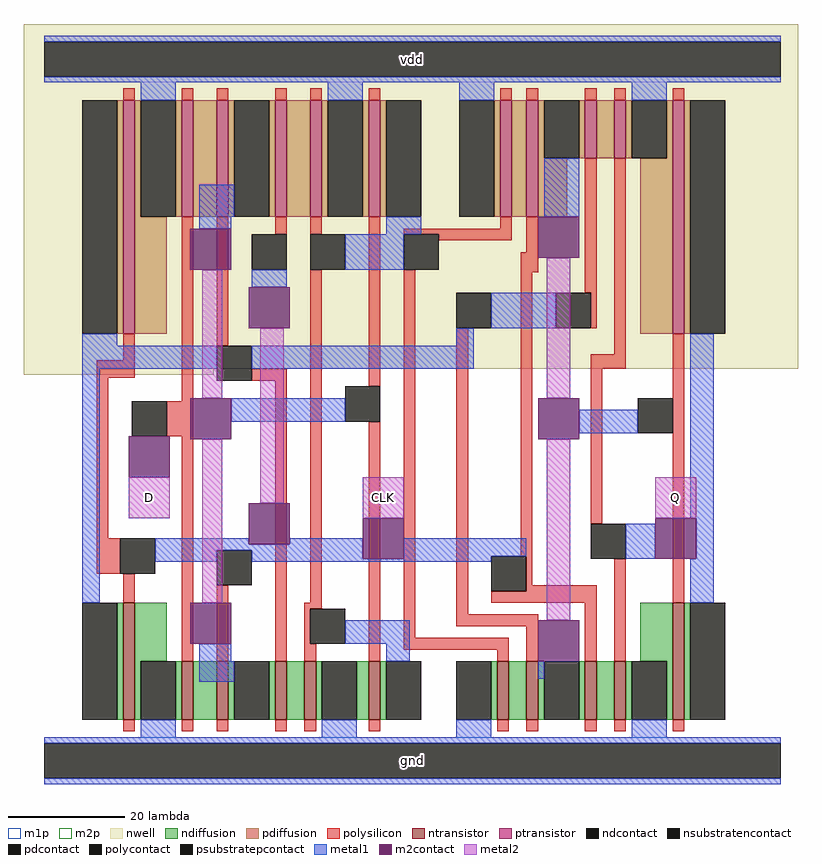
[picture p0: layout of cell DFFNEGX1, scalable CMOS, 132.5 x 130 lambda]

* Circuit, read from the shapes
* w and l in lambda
.subckt DFFNEGX1 D CLK Q vdd gnd
M1 gnd CLK n1 gnd nfet w=20 l=2
M2 n2 D gnd gnd nfet w=10 l=2
M3 n3 CLK n2 gnd nfet w=10 l=2
M4 n4 n1 n3 gnd nfet w=10 l=2
M5 gnd n5 n4 gnd nfet w=10 l=2
M6 n5 n3 gnd gnd nfet w=10 l=2
M7 n6 n5 gnd gnd nfet w=10 l=2
M8 n7 n1 n6 gnd nfet w=10 l=2
M9 n8 CLK n7 gnd nfet w=10 l=2
M10 gnd Q n8 gnd nfet w=10 l=2
M11 Q n7 gnd gnd nfet w=20 l=2
M12 vdd CLK n1 vdd pfet w=40 l=2
M13 n9 D vdd vdd pfet w=20 l=2
M14 n3 n1 n9 vdd pfet w=20 l=2
M15 n10 CLK n3 vdd pfet w=20 l=2
M16 vdd n5 n10 vdd pfet w=20 l=2
M17 n5 n3 vdd vdd pfet w=20 l=2
M18 n11 n5 vdd vdd pfet w=20 l=2
M19 n7 CLK n11 vdd pfet w=20 l=2
M20 n12 n1 n7 vdd pfet w=10 l=2
M21 vdd Q n12 vdd pfet w=10 l=2
M22 Q n7 vdd vdd pfet w=40 l=2
.ends

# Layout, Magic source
magic
tech scmos
magscale 1 2
<< nwell >>
rect -13 134 252 252
rect -13 132 52 134
<< ntransistor >>
rect 21 14 25 54
rect 41 14 45 34
rect 53 14 57 34
rect 73 14 77 34
rect 83 14 87 34
rect 105 14 109 34
rect 149 14 153 34
rect 159 14 163 34
rect 179 14 183 34
rect 189 14 193 34
rect 209 14 213 54
<< ptransistor >>
rect 21 146 25 226
rect 41 186 45 226
rect 53 186 57 226
rect 73 186 77 226
rect 85 186 89 226
rect 105 186 109 226
rect 150 186 154 226
rect 159 186 163 226
rect 179 206 183 226
rect 189 206 193 226
rect 209 146 213 226
<< ndiffusion >>
rect 19 14 21 54
rect 25 34 36 54
rect 198 34 209 54
rect 25 14 27 34
rect 39 14 41 34
rect 45 14 53 34
rect 57 14 59 34
rect 71 14 73 34
rect 77 14 83 34
rect 87 14 89 34
rect 101 14 105 34
rect 109 14 111 34
rect 147 14 149 34
rect 153 14 159 34
rect 163 14 165 34
rect 177 14 179 34
rect 183 14 189 34
rect 193 14 195 34
rect 207 14 209 34
rect 213 14 215 54
<< pdiffusion >>
rect 19 146 21 226
rect 25 186 27 226
rect 39 186 41 226
rect 45 186 53 226
rect 57 186 59 226
rect 71 186 73 226
rect 77 186 85 226
rect 89 186 91 226
rect 103 186 105 226
rect 109 186 111 226
rect 148 186 150 226
rect 154 186 159 226
rect 163 206 165 226
rect 177 206 179 226
rect 183 206 189 226
rect 193 206 195 226
rect 207 206 209 226
rect 163 186 173 206
rect 25 146 36 186
rect 198 146 209 206
rect 213 146 215 226
<< ndcontact >>
rect 7 14 19 54
rect 27 14 39 34
rect 59 14 71 34
rect 89 14 101 34
rect 111 14 123 34
rect 135 14 147 34
rect 165 14 177 34
rect 195 14 207 34
rect 215 14 227 54
<< pdcontact >>
rect 7 146 19 226
rect 27 186 39 226
rect 59 186 71 226
rect 91 186 103 226
rect 111 186 123 226
rect 136 186 148 226
rect 165 206 177 226
rect 195 206 207 226
rect 215 146 227 226
<< psubstratepcontact >>
rect -6 -6 246 6
<< nsubstratencontact >>
rect -6 234 246 246
<< polysilicon >>
rect 21 226 25 230
rect 41 226 45 230
rect 53 226 57 230
rect 73 226 77 230
rect 85 226 89 230
rect 105 226 109 230
rect 150 226 154 230
rect 159 226 163 230
rect 179 226 183 230
rect 189 226 193 230
rect 209 226 213 230
rect 21 137 25 146
rect 12 131 25 137
rect 12 76 16 131
rect 41 123 45 186
rect 53 142 57 186
rect 73 180 77 186
rect 85 180 89 186
rect 65 130 77 134
rect 36 111 45 123
rect 12 64 20 76
rect 21 54 25 64
rect 41 34 45 111
rect 53 34 57 60
rect 73 34 77 130
rect 85 54 89 168
rect 105 128 109 186
rect 150 182 154 186
rect 83 52 89 54
rect 83 40 85 52
rect 83 34 87 40
rect 105 34 109 116
rect 117 180 154 182
rect 129 178 154 180
rect 159 174 163 186
rect 117 42 121 168
rect 157 167 163 174
rect 135 50 139 148
rect 157 70 161 167
rect 179 160 183 206
rect 181 148 183 160
rect 189 139 193 206
rect 159 60 161 70
rect 181 134 193 139
rect 181 81 185 134
rect 159 58 183 60
rect 147 54 183 58
rect 135 46 163 50
rect 117 38 153 42
rect 149 34 153 38
rect 159 34 163 46
rect 179 34 183 54
rect 189 34 193 69
rect 209 54 213 146
rect 21 10 25 14
rect 41 10 45 14
rect 53 10 57 14
rect 73 10 77 14
rect 83 10 87 14
rect 105 10 109 14
rect 149 10 153 14
rect 159 10 163 14
rect 179 10 183 14
rect 189 10 193 14
rect 209 10 213 14
<< polycontact >>
rect 65 168 77 180
rect 85 168 97 180
rect 53 130 65 142
rect 24 111 36 123
rect 20 64 32 76
rect 53 60 65 72
rect 97 116 109 128
rect 85 40 97 52
rect 117 168 129 180
rect 135 148 147 160
rect 169 148 181 160
rect 147 58 159 70
rect 197 112 209 124
rect 181 69 193 81
<< metal1 >>
rect -6 246 246 248
rect -6 232 246 234
rect 27 226 39 232
rect 91 226 103 232
rect 136 226 148 232
rect 195 226 207 232
rect 47 186 59 197
rect 165 186 177 206
rect 47 182 58 186
rect 111 180 123 186
rect 97 168 117 180
rect 65 162 77 168
rect 147 148 169 160
rect 7 142 19 146
rect 135 142 141 148
rect 7 134 53 142
rect 7 54 13 134
rect 65 134 141 142
rect 58 116 97 124
rect 177 112 197 120
rect 32 74 64 76
rect 215 83 223 146
rect 78 74 103 76
rect 32 72 103 74
rect 32 68 53 72
rect 65 69 103 72
rect 117 70 159 76
rect 117 69 147 70
rect 65 68 147 69
rect 193 69 203 81
rect 217 69 223 83
rect 215 54 223 69
rect 97 40 119 48
rect 47 34 58 40
rect 111 34 119 40
rect 47 27 59 34
rect 163 28 165 34
rect 27 8 39 14
rect 89 8 101 14
rect 135 8 147 14
rect 195 8 207 14
rect -6 6 246 8
rect -6 -8 246 -6
<< m2contact >>
rect 44 168 58 182
rect 163 172 177 186
rect 64 148 78 162
rect 23 97 37 111
rect 44 110 58 124
rect 163 110 177 124
rect 64 74 78 88
rect 103 69 117 83
rect 203 69 217 83
rect 44 40 58 54
rect 163 34 177 48
<< metal2 >>
rect 48 124 55 168
rect 23 83 37 97
rect 48 54 55 110
rect 68 88 76 148
rect 166 124 174 172
rect 103 83 117 97
rect 166 48 174 110
rect 203 83 217 97
<< m1p >>
rect -6 232 246 248
rect -6 -8 246 8
<< m2p >>
rect 23 83 37 97
rect 103 83 117 97
rect 203 83 217 97
<< labels >>
rlabel metal1 -6 -8 246 8 0 gnd
port 4 nsew ground bidirectional abutment
rlabel metal1 -6 232 246 248 0 vdd
port 3 nsew power bidirectional abutment
rlabel metal2 23 83 37 97 0 D
port 0 nsew signal input
rlabel metal2 103 83 117 97 0 CLK
port 1 nsew clock input
rlabel metal2 203 83 217 97 0 Q
port 2 nsew signal output
<< properties >>
string FIXED_BBOX 0 0 240 240
string LEFclass CORE
string LEFsite core
string LEFsymmetry X Y
<< end >>
